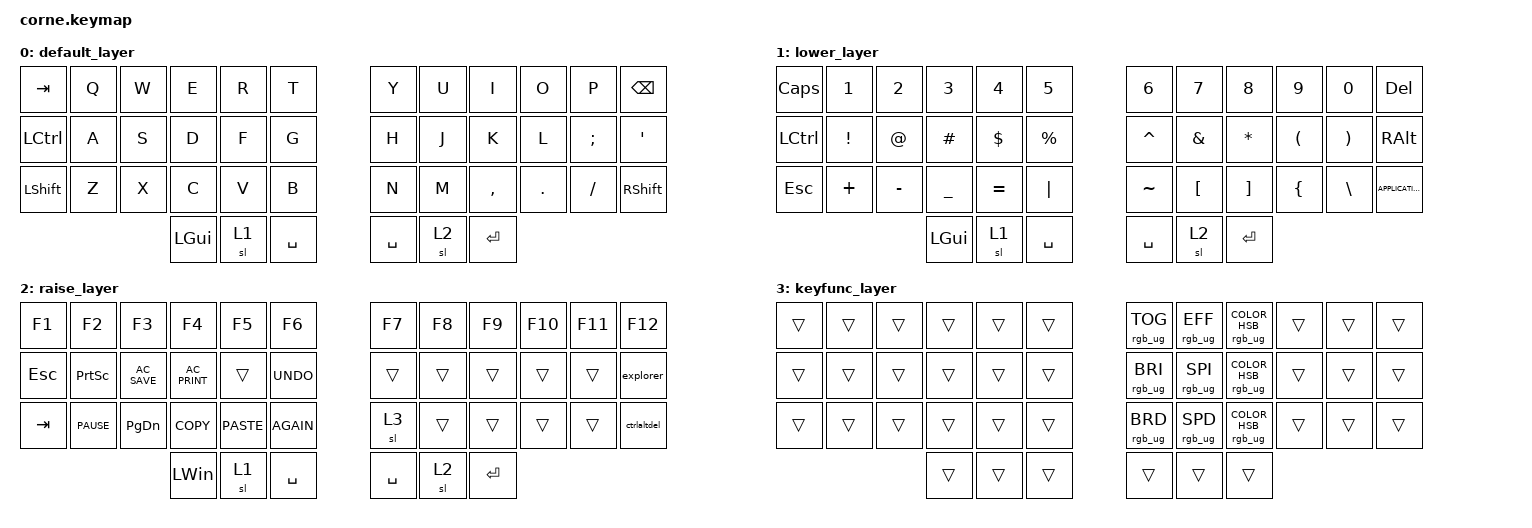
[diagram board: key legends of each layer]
/*
 * Copyright (c) 2020 The ZMK Contributors
 *
 * SPDX-License-Identifier: MIT
 */

#include <behaviors.dtsi>
#include <dt-bindings/zmk/keys.h>
#include <dt-bindings/zmk/rgb.h>

&led_strip { chain-length = <27>; };

/ {
    macros {
        ctrlaltdel: ctrlaltdel {
            compatible = "zmk,behavior-macro";
            #binding-cells = <0>;
            bindings =
                <&macro_press>,
                <&kp LEFT_CONTROL &kp LEFT_ALT &kp DEL>,
                <&macro_release>;

            label = "CTRLALTDEL";
        };

        explorer: new_macro {
            compatible = "zmk,behavior-macro";
            #binding-cells = <0>;
            bindings =
                <&macro_press>,
                <&kp LWIN &kp R>,
                <&macro_release>,
                <&macro_tap>,
                <&kp E &kp X &kp P &kp L &kp O &kp R &kp E &kp R &kp DOT &kp E &kp X &kp E &kp ENTER>;

            label = "NEW_MACRO";
        };
    };

    keymap {
        compatible = "zmk,keymap";

        default_layer {
            // -----------------------------------------------------------------------------------------
            // |  TAB |  Q  |  W  |  E  |  R  |  T  |   |  Y  |  U   |  I  |  O  |  P  | BKSP |
            // | CTRL |  A  |  S  |  D  |  F  |  G  |   |  H  |  J   |  K  |  L  |  ;  |  '   |
            // | SHFT |  Z  |  X  |  C  |  V  |  B  |   |  N  |  M   |  ,  |  .  |  /  | SHFT |
            //                    | GUI | LWR | ENT |   | SPC | RSE  | ALT |

            bindings = <
&kp TAB           &kp Q  &kp W  &kp E     &kp R  &kp T        &kp Y      &kp U  &kp I      &kp O    &kp P     &kp BACKSPACE
&kp LEFT_CONTROL  &kp A  &kp S  &kp D     &kp F  &kp G        &kp H      &kp J  &kp K      &kp L    &kp SEMI  &kp SQT
&kp LSHFT         &kp Z  &kp X  &kp C     &kp V  &kp B        &kp N      &kp M  &kp COMMA  &kp DOT  &kp FSLH  &kp RSHFT
                                &kp LGUI  &sl 1  &kp SPACE    &kp SPACE  &sl 2  &kp RET
            >;
        };

        lower_layer {
            // -----------------------------------------------------------------------------------------
            // |  TAB |  1    |  2  |  3  |  4  |  5  |   |  6  |  7  |  8  |  9  |  0  | BKSP |
            // | LCTRL| BTCLR | BT0 | BT1 | BT2 | BT3 |   | LFT | DWN |  UP | RGT |     |      |
            // | ESC  |       | HOME| PGUP| PGDN| END |   |     |     |     |     |     |      |
            //                      | GUI |     | SPC |   | ENT |     | ALT |

            bindings = <
&kp CAPS          &kp NUMBER_1  &kp NUMBER_2  &kp N3        &kp N4      &kp N5         &kp N6     &kp N7            &kp N8             &kp N9                &kp N0                 &kp DEL
&kp LEFT_CONTROL  &kp EXCL      &kp AT        &kp POUND     &kp DOLLAR  &kp PERCENT    &kp CARET  &kp AMPS          &kp STAR           &kp LEFT_PARENTHESIS  &kp RIGHT_PARENTHESIS  &kp RIGHT_ALT
&kp ESC           &kp PLUS      &kp MINUS     &kp UNDER     &kp EQUAL   &kp PIPE       &kp TILDE  &kp LEFT_BRACKET  &kp RIGHT_BRACKET  &kp LEFT_BRACE        &kp BACKSLASH          &kp K_APPLICATION
                                              &kp LEFT_GUI  &sl 1       &kp SPACE      &kp SPACE  &sl 2             &kp ENTER
            >;
        };

        raise_layer {
            bindings = <
&kp F1   &kp F2           &kp F3         &kp F4          &kp F5       &kp F6         &kp F7     &kp F8  &kp F9     &kp F10  &kp F11  &kp F12
&kp ESC  &kp PRINTSCREEN  &kp C_AC_SAVE  &kp C_AC_PRINT  &trans       &kp K_UNDO     &trans     &trans  &trans     &trans   &trans   &explorer
&kp TAB  &kp C_PAUSE      &kp PG_DN      &kp K_COPY      &kp K_PASTE  &kp K_AGAIN    &sl 3      &trans  &trans     &trans   &trans   &ctrlaltdel
                                         &kp LEFT_WIN    &sl 1        &kp SPACE      &kp SPACE  &sl 2   &kp ENTER
            >;
        };

        keyfunc_layer {
            bindings = <
&trans  &trans  &trans  &trans  &trans  &trans    &rgb_ug RGB_TOG  &rgb_ug RGB_EFF  &rgb_ug RGB_COLOR_HSB(258,100,50)  &trans  &trans  &trans
&trans  &trans  &trans  &trans  &trans  &trans    &rgb_ug RGB_BRI  &rgb_ug RGB_SPI  &rgb_ug RGB_COLOR_HSB(280,100,50)  &trans  &trans  &trans
&trans  &trans  &trans  &trans  &trans  &trans    &rgb_ug RGB_BRD  &rgb_ug RGB_SPD  &rgb_ug RGB_COLOR_HSB(307,100,50)  &trans  &trans  &trans
                        &trans  &trans  &trans    &trans           &trans           &trans
            >;
        };
    };
};
